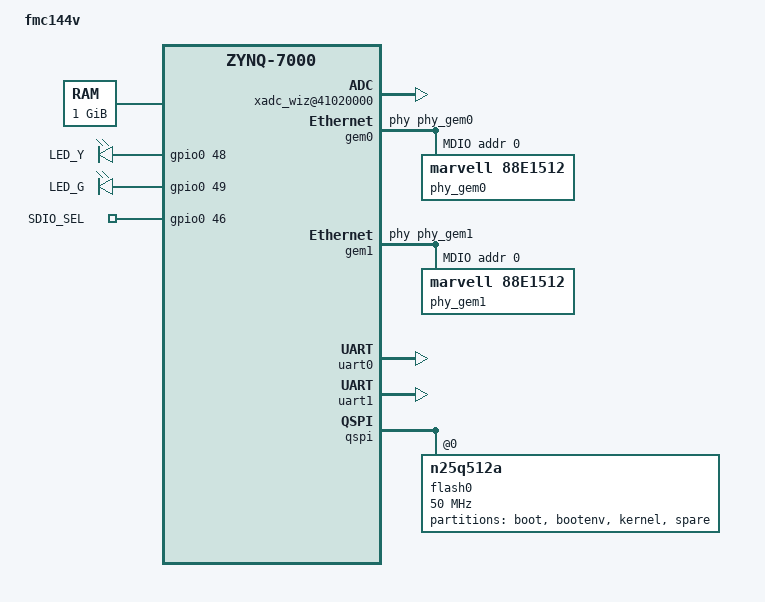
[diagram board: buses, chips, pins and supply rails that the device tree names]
/dts-v1/;

#include "zynq-7000.dtsi"

/ {
        model = "fmc144v";
        compatble = "insys,fmc144v", "xlnx,zynq-7000";

        aliases {
                ethernet0 = &gem0;
                ethernet1 = &gem1;
                i2c0 = &axi_iic_0;
                i2c1 = &i2c0;
                i2c2 = &i2c1;
                serial0 = &uart0;
                serial1 = &mdm_0;
                spi0 = &qspi;
        };

        memory {
                device_type = "memory";
                reg = <0x0 0x40000000>;
        };

        cpus {
                /delete-node/ cpu@1 ;
        };

        chosen {
                bootargs = "console=ttyPS0,115200 earlycon root=/dev/mmcblk0p2 rootfstype=ext4 init_fatal_sh=1";
                stdout-path = "serial0:115200n8";
        };

        leds {
                compatible = "gpio-leds";

                LED_Y {
                        label = "LED_Y";
                        gpios = <&gpio0 48 0>;
                        linux,default-trigger = "heartbeat";
                };

                LED_G {
                        label = "LED_G";
                        gpios = <&gpio0 49 0>;
                        default-state = "off";
                };

                SDIO_SEL {
                        label = "SDIO_SEL";
                        gpios = <&gpio0 46 0>;
                        default-state = "on";
                };
        };
};

&amba {
    ptm@f889d000 {
        cpu = <&cpu0>;
    };

    xadc_wiz@41020000 {
        status = "okay";
    };
};

/* FMC144V v1.0 */
&gem0 {
    status = "okay";
    local-mac-address = [00 0a 35 00 01 00];
    phy-handle = <&phy_gem0>;
    ps7_ethernet_0_mdio: mdio_gem0 {
        #address-cells = <0x1>;
        #size-cells = <0x0>;
        phy_gem0: phy_gem0@0 {
            compatible = "marvell,88e1512";
            device_type = "ethernet-phy";
            reg = <0>;
        };
    };
};

&gem1 {
    status = "okay";
    local-mac-address = [00 0a 35 00 01 01];
    phy-handle = <&phy_gem1>;
    ps7_ethernet_1_mdio: mdio_gem1 {
        #address-cells = <0x1>;
        #size-cells = <0x0>;
        phy_gem1: phy_gem1@0 {
            compatible = "marvell,88e1512";
            device_type = "ethernet-phy";
            reg = <0>;
        };
    };
};

&uart0 {
    status = "okay";
};

&uart1 {
    status = "okay";
};

&qspi {

    flash0: flash@0 {
        compatible = "n25q512a", "micron,m25p80";
        #address-cells = <1>;
        #size-cells = <1>;
        spi-max-frequency = <50000000>;
        partition@0 {
            label = "boot";
            reg = <0x00000000 0x00200000>;
        };
        partition@1 {
            label = "bootenv";
            reg = <0x00200000 0x00020000>;
        };
        partition@2 {
            label = "kernel";
            reg = <0x00220000 0x00d80000>;
        };
        partition@3 {
            label = "spare";
            reg = <0x00fa0000 0x00000000>;
        };
    };
};
